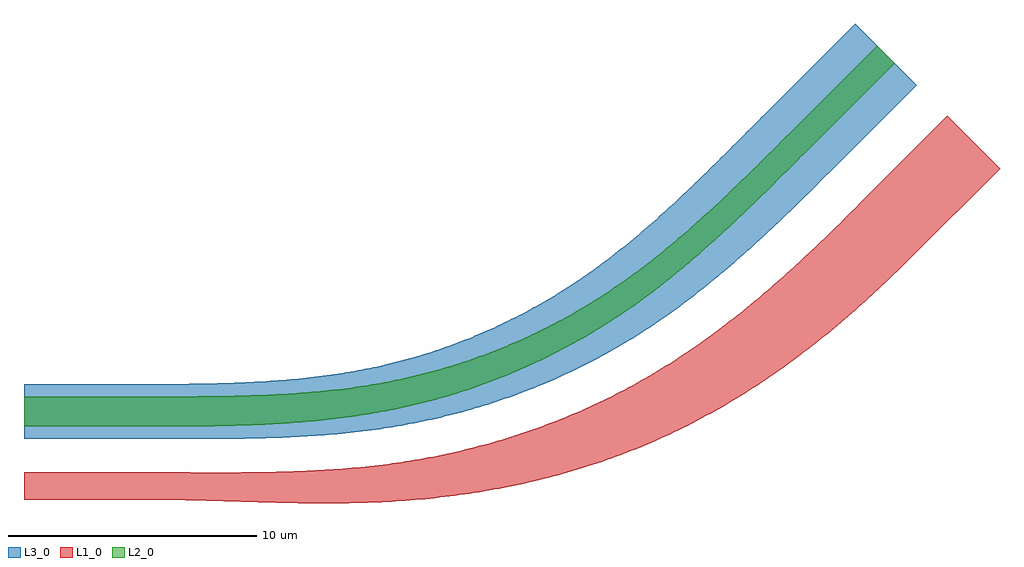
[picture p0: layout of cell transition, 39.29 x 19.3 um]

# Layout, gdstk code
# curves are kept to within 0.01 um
from math import pi, radians
import gdstk
lib = gdstk.Library(unit=1e-6, precision=1e-09)
def R(c, l, rs):  # rectangles x0, y0, x1, y1
    for r in rs: c.add(gdstk.rectangle(r[:2], r[2:], *l))
def P(c, l, *ps):  # polygons
    for p in ps: c.add(gdstk.Polygon(p, *l))
L1_0 = (1, 0)
L2_0 = (2, 0)
L3_0 = (3, 0)

path_90389ac5e2278be33ed = lib.new_cell('path_90389ac5e2278be33ed7bd007e')
R(path_90389ac5e2278be33ed, L1_0, [(0,-3.55,5,-2.45)])
R(path_90389ac5e2278be33ed, L2_0, [(0,-0.6,5,0.6)])
R(path_90389ac5e2278be33ed, L3_0, [(0,-1.1,5,1.1)])

path_0edeaa4d6acefdcecc5 = lib.new_cell('path_0edeaa4d6acefdcecc5db7e634')
R(path_0edeaa4d6acefdcecc5, L1_0, [(0,-6.5,5,-3.5)])
R(path_0edeaa4d6acefdcecc5, L2_0, [(0,-0.5,5,0.5)])
R(path_0edeaa4d6acefdcecc5, L3_0, [(0,-1.75,5,1.75)])

path_babfd6a775bd94e702c = lib.new_cell('path_babfd6a775bd94e702cd927faf')
P(path_babfd6a775bd94e702c, L1_0, [(0,-3.55),(1.505,-3.566),(5.15,-3.666),(6.96,-3.693),(8.636,-3.674),(10.359,-3.589),(11.147,-3.523),(12.139,-3.414),(13.33,-3.243),(14.124,-3.103),(15.117,-2.9),(15.909,-2.713),(16.896,-2.448),(17.682,-2.21),(18.66,-1.879),(19.629,-1.511),(20.397,-1.188),(21.157,-0.841),(21.909,-0.469),(22.812,0.017),(23.685,0.529),(24.363,0.955),(25.184,1.504),(25.975,2.07),(26.738,2.649),(27.616,3.356),(28.318,3.953),(29.125,4.675),(30.023,5.519),(30.756,6.24),(28.635,8.361),(26.97,6.73),(25.582,5.447),(24.922,4.869),(24.105,4.185),(23.401,3.626),(22.674,3.078),(22.076,2.651),(21.307,2.133),(20.674,1.733),(19.852,1.249),(19.182,0.884),(18.502,0.537),(17.813,0.21),(16.939,-0.171),(16.054,-0.522),(14.977,-0.902),(14.251,-1.13),(13.337,-1.389),(12.416,-1.616),(11.49,-1.813),(10.559,-1.98),(9.639,-2.115),(8.004,-2.289),(6.925,-2.364),(5.857,-2.413),(3.925,-2.454),(0,-2.45)])
P(path_babfd6a775bd94e702c, L2_0, [(0,-0.6),(2.504,-0.588),(3.845,-0.558),(4.853,-0.517),(6.535,-0.401),(7.377,-0.316),(8.385,-0.185),(9.391,-0.02),(10.231,0.148),(11.073,0.347),(11.742,0.526),(12.571,0.776),(13.227,0.996),(13.877,1.234),(14.68,1.555),(15.471,1.904),(16.251,2.279),(17.016,2.68),(17.619,3.019),(18.359,3.466),(18.94,3.841),(19.503,4.226),(20.189,4.724),(20.859,5.241),(21.644,5.881),(22.911,6.99),(24.378,8.369),(26.514,10.482),(25.807,11.189),(23.8,9.207),(22.354,7.853),(21.739,7.306),(20.988,6.668),(19.832,5.753),(19.173,5.271),(18.5,4.81),(17.942,4.452),(17.232,4.026),(16.361,3.547),(15.77,3.248),(15.171,2.965),(14.412,2.635),(13.643,2.33),(12.863,2.051),(12.075,1.799),(11.439,1.617),(10.638,1.413),(9.83,1.237),(9.188,1.116),(8.222,0.966),(6.761,0.8),(5.78,0.723),(4.796,0.669),(2.819,0.613),(0,0.6)])
P(path_babfd6a775bd94e702c, L3_0, [(0,-1.1),(3.184,-1.097),(5.389,-1.047),(7.1,-0.949),(7.959,-0.873),(8.992,-0.753),(9.681,-0.654),(10.551,-0.503),(11.423,-0.323),(12.117,-0.159),(12.979,0.073),(13.663,0.279),(14.511,0.563),(15.349,0.875),(16.178,1.216),(16.832,1.51),(17.479,1.821),(18.276,2.236),(19.059,2.679),(19.823,3.148),(20.414,3.536),(21.135,4.04),(22.387,4.991),(23.191,5.652),(23.973,6.329),(25.479,7.717),(27.398,9.598),(24.923,12.073),(22.942,10.093),(21.78,8.963),(20.603,7.875),(19.401,6.841),(18.413,6.063),(17.257,5.242),(16.182,4.564),(15.211,4.017),(14.358,3.584),(13.633,3.249),(12.896,2.938),(11.997,2.599),(11.084,2.297),(10.313,2.074),(9.533,1.879),(8.602,1.683),(7.817,1.546),(6.704,1.392),(5.741,1.292),(4.933,1.228),(3.793,1.164),(2.81,1.13),(0,1.1)])

transition = lib.new_cell('transition')
transition.add(gdstk.Reference(path_90389ac5e2278be33ed, (0,0)))
transition.add(gdstk.Reference(path_0edeaa4d6acefdcecc5, (31.16,10.836), rotation=radians(45)))
transition.add(gdstk.Reference(path_babfd6a775bd94e702c, (5,0)))

lib.write_gds('transition.gds')
